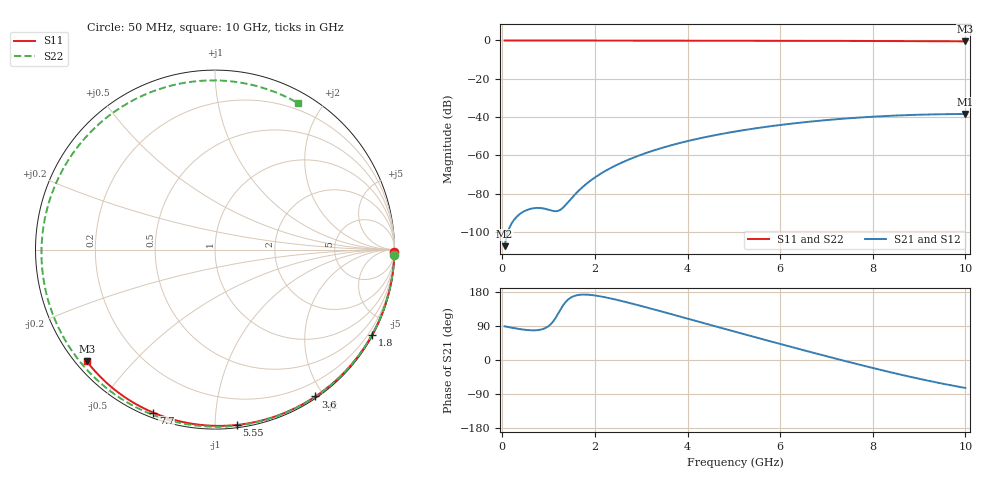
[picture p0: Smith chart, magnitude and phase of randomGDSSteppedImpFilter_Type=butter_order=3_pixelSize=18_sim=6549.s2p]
! freq	dB(S11)	phase(S11)	dB(S12)	phase(S12)
!  dB(S21)	phase(S21)	dB(S22)	phase(S22)
!S-par simulation data
#  GHz  S  DB  R 50
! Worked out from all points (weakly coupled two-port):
!   200 points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, 50 MHz to 10 GHz, reference 50 ohm
!   highest |S21| = -38.39 dB at 10 GHz (marker M1); lowest = -107.4 dB at 50 MHz (marker M2)
!   lowest |S11| = -0.5 dB at 10 GHz (marker M3), VSWR 37.06, Z = 1.54 - j18.7 ohm
!   |S11| at or under -10 dB: nowhere
!   |S22| runs from -0.6 to 0.0 dB; largest |S21 - S12| = 0
!   S11 on the Smith chart (normalised r, x): 50 MHz: open; 1.8 GHz: 0.03, -3.94; 3.6 GHz: 0.02, -1.90; 5.55 GHz: 0.02, -1.13; 7.7 GHz: 0.02, -0.69; 10 GHz: 0.03, -0.37
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0.05  -0.00 -0.8  -107.42 89.0  -107.42 89.0  -0.00 -1.7
0.75  -0.02 -12.0  -87.46 78.7  -87.46 78.7  -0.03 -24.5
1.55  -0.03 -24.6  -80.91 168.8  -80.91 168.8  -0.06 -49.9
1.6  -0.03 -25.4  -79.64 170.6  -79.64 170.6  -0.06 -51.4
1.75  -0.04 -27.7  -76.20 172.6  -76.20 172.6  -0.07 -56.1
1.8  -0.04 -28.5  -75.18 172.6  -75.18 172.6  -0.07 -57.6
2.1  -0.04 -33.1  -69.96 168.4  -69.96 168.4  -0.08 -66.7
2.45  -0.05 -38.5  -65.26 159.4  -65.26 159.4  -0.10 -77.2
2.9  -0.06 -45.3  -60.56 145.7  -60.56 145.7  -0.11 -90.3
3.4  -0.07 -52.7  -56.46 129.4  -56.46 129.4  -0.13 -104.5
3.6  -0.07 -55.6  -55.05 122.7  -55.05 122.7  -0.14 -110.1
4.3  -0.09 -65.7  -50.91 99.1  -50.91 99.1  -0.17 -129.2
5.05  -0.12 -76.2  -47.47 73.8  -47.47 73.8  -0.22 -149.4
5.55  -0.14 -83.0  -45.60 57.2  -45.60 57.2  -0.25 -162.9
6.15  -0.16 -91.0  -43.71 37.4  -43.71 37.4  -0.29 -179.3
6.7  -0.19 -98.1  -42.26 19.6  -42.26 19.6  -0.33 165.4
7.2  -0.22 -104.5  -41.17 3.6  -41.17 3.6  -0.37 151.0
7.7  -0.25 -110.8  -40.27 -11.9  -40.27 -11.9  -0.41 136.0
8.35  -0.30 -118.8  -39.37 -31.4  -39.37 -31.4  -0.46 115.7
8.8  -0.34 -124.3  -38.94 -44.1  -38.94 -44.1  -0.49 101.1
9.2  -0.38 -129.2  -38.66 -54.8  -38.66 -54.8  -0.52 87.8
10  -0.47 -138.9  -38.39 -73.8  -38.39 -73.8  -0.56 60.6
